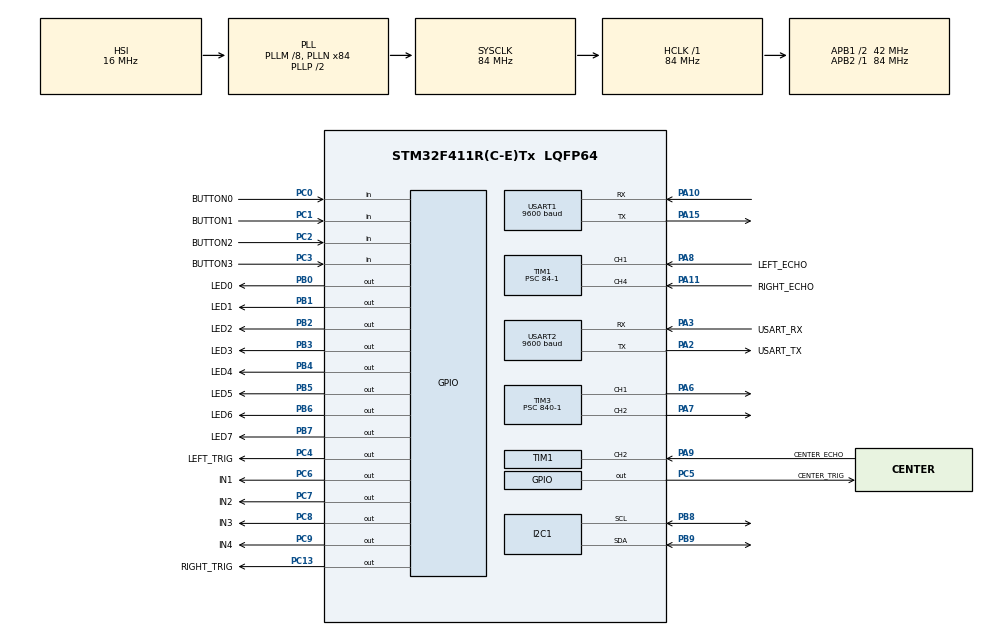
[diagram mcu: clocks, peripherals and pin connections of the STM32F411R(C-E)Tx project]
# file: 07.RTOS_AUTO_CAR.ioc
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FREERTOS.Tasks01=defaultTask,24,128,StartDefaultTask,Default,NULL,Dynamic,NULL,NULL;myTask01,8,128,StartTask01,Default,NULL,Dynamic,NULL,NULL;myTask02,8,128,StartTask02,Default,NULL,Dynamic,NULL,NULL
FREERTOS.configUSE_NEWLIB_REENTRANT=1
Mcu.Family=STM32F4
Mcu.Name=STM32F411R(C-E)Tx
Mcu.Package=LQFP64
NVIC.PriorityGroup=NVIC_PRIORITYGROUP_4
NVIC.TIM1_BRK_TIM9_IRQn=true\:5\:0\:false\:false\:true\:true\:true\:true\:true
NVIC.TIM1_CC_IRQn=true\:5\:0\:false\:false\:true\:true\:true\:true\:true
NVIC.TIM1_TRG_COM_TIM11_IRQn=true\:5\:0\:false\:false\:true\:false\:false\:true\:true
NVIC.TIM1_UP_TIM10_IRQn=true\:5\:0\:false\:false\:true\:false\:true\:true\:true
NVIC.TIM3_IRQn=true\:5\:0\:false\:false\:true\:true\:true\:true\:true
NVIC.TimeBase=TIM1_TRG_COM_TIM11_IRQn
NVIC.TimeBaseIP=TIM11
NVIC.USART1_IRQn=true\:5\:0\:false\:false\:true\:true\:true\:true\:true
NVIC.USART2_IRQn=true\:5\:0\:false\:false\:true\:true\:true\:true\:true
PA10.Mode=Asynchronous
PA10.Signal=USART1_RX
PA11.GPIO_Label=RIGHT_ECHO
PA11.Signal=S_TIM1_CH4
PA13.GPIO_Label=TMS
PA13.Mode=Serial_Wire
PA13.Signal=SYS_JTMS-SWDIO
PA14.GPIO_Label=TCK
PA14.Mode=Serial_Wire
PA14.Signal=SYS_JTCK-SWCLK
PA15.Mode=Asynchronous
PA15.Signal=USART1_TX
PA2.GPIO_Label=USART_TX
PA2.Mode=Asynchronous
PA2.Signal=USART2_TX
PA3.GPIO_Label=USART_RX
PA3.Mode=Asynchronous
PA3.Signal=USART2_RX
PA6.Signal=S_TIM3_CH1
PA7.Signal=S_TIM3_CH2
PA8.GPIO_Label=LEFT_ECHO
PA8.Signal=S_TIM1_CH1
PA9.GPIO_Label=CENTER_ECHO
PA9.Signal=S_TIM1_CH2
PB0.GPIO_Label=LED0
PB0.Signal=GPIO_Output
PB1.GPIO_Label=LED1
PB1.Signal=GPIO_Output
PB2.GPIO_Label=LED2
PB2.Signal=GPIO_Output
PB3.GPIO_Label=LED3
PB3.Signal=GPIO_Output
PB4.GPIO_Label=LED4
PB4.Signal=GPIO_Output
PB5.GPIO_Label=LED5
PB5.Signal=GPIO_Output
PB6.GPIO_Label=LED6
PB6.Signal=GPIO_Output
PB7.GPIO_Label=LED7
PB7.Signal=GPIO_Output
PB8.Mode=I2C
PB8.Signal=I2C1_SCL
PB9.Mode=I2C
PB9.Signal=I2C1_SDA
PC0.GPIO_Label=BUTTON0
PC0.Signal=GPIO_Input
PC1.GPIO_Label=BUTTON1
PC1.Signal=GPIO_Input
PC13-ANTI_TAMP.GPIO_Label=RIGHT_TRIG
PC13-ANTI_TAMP.Signal=GPIO_Output
PC14-OSC32_IN.Mode=LSE-External-Oscillator
PC14-OSC32_IN.Signal=RCC_OSC32_IN
PC15-OSC32_OUT.Mode=LSE-External-Oscillator
PC15-OSC32_OUT.Signal=RCC_OSC32_OUT
PC2.GPIO_Label=BUTTON2
PC2.Signal=GPIO_Input
PC3.GPIO_Label=BUTTON3
PC3.Signal=GPIO_Input
PC4.GPIO_Label=LEFT_TRIG
PC4.Signal=GPIO_Output
PC5.GPIO_Label=CENTER_TRIG
PC5.Signal=GPIO_Output
PC6.GPIO_Label=IN1
PC6.Signal=GPIO_Output
PC7.GPIO_Label=IN2
PC7.Signal=GPIO_Output
PC8.GPIO_Label=IN3
PC8.Signal=GPIO_Output
PC9.GPIO_Label=IN4
PC9.Signal=GPIO_Output
PH0\ -\ OSC_IN.Mode=HSE-External-Clock-Source
PH0\ -\ OSC_IN.Signal=RCC_OSC_IN
PH1\ -\ OSC_OUT.Mode=HSE-External-Clock-Source
PH1\ -\ OSC_OUT.Signal=RCC_OSC_OUT
ProjectManager.HeapSize=0x200
ProjectManager.StackSize=0x400
ProjectManager.TargetToolchain=STM32CubeIDE
RCC.48MHZClocksFreq_Value=42000000
RCC.AHBFreq_Value=84000000
RCC.APB1CLKDivider=RCC_HCLK_DIV2
RCC.APB1Freq_Value=42000000
RCC.APB1TimFreq_Value=84000000
RCC.APB2Freq_Value=84000000
RCC.APB2TimFreq_Value=84000000
RCC.CortexFreq_Value=84000000
RCC.FLatency-AdvancedSettings=FLASH_LATENCY_2
RCC.HCLKFreq_Value=84000000
RCC.HSE_VALUE=8000000
RCC.HSI_VALUE=16000000
RCC.PLLM=8
RCC.PLLN=84
RCC.SYSCLKFreq_VALUE=84000000
RCC.SYSCLKSource=RCC_SYSCLKSOURCE_PLLCLK
RCC.VCOOutputFreq_Value=168000000
SH.S_TIM1_CH1.0=TIM1_CH1,Input_Capture1_from_TI1
SH.S_TIM1_CH2.0=TIM1_CH2,Input_Capture2_from_TI2
SH.S_TIM1_CH4.0=TIM1_CH4,Input_Capture4_from_TI4
SH.S_TIM3_CH1.0=TIM3_CH1,PWM Generation1 CH1
SH.S_TIM3_CH2.0=TIM3_CH2,PWM Generation2 CH2
TIM1.Channel-Input_Capture1_from_TI1=TIM_CHANNEL_1
TIM1.Channel-Input_Capture2_from_TI2=TIM_CHANNEL_2
TIM1.Channel-Input_Capture4_from_TI4=TIM_CHANNEL_4
TIM1.ICPolarity_CH1=TIM_INPUTCHANNELPOLARITY_BOTHEDGE
TIM1.ICPolarity_CH2=TIM_INPUTCHANNELPOLARITY_BOTHEDGE
TIM1.ICPolarity_CH4=TIM_INPUTCHANNELPOLARITY_BOTHEDGE
TIM1.Prescaler=84-1
TIM10.Period=1000-1
TIM10.Prescaler=84-1
TIM2.Prescaler=84-1
TIM3.Channel-PWM\ Generation1\ CH1=TIM_CHANNEL_1
TIM3.Channel-PWM\ Generation2\ CH2=TIM_CHANNEL_2
TIM3.Period=100-1
TIM3.Prescaler=840-1
TIM3.Pulse-PWM\ Generation1\ CH1=70-1
TIM3.Pulse-PWM\ Generation2\ CH2=70-1
USART1.BaudRate=9600
USART1.VirtualMode=VM_ASYNC
USART2.BaudRate=9600
USART2.VirtualMode=VM_ASYNC
VP_FREERTOS_VS_CMSIS_V2.Mode=CMSIS_V2
VP_SYS_VS_tim11.Mode=TIM11
VP_TIM10_VS_ClockSourceINT.Mode=Enable_Timer
VP_TIM1_VS_ClockSourceINT.Mode=Internal
VP_TIM2_VS_ClockSourceINT.Mode=Internal
board=NUCLEO-F411RE

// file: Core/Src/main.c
/* USER CODE BEGIN Header */
/**
  ******************************************************************************
  * @file           : main.c
  * @brief          : Main program body
  ******************************************************************************
  * @attention
  *
  * Copyright (c) 2026 STMicroelectronics.
  * All rights reserved.
  *
  * This software is licensed under terms that can be found in the LICENSE file
  * in the root directory of this software component.
  * If no LICENSE file comes with this software, it is provided AS-IS.
  *
  ******************************************************************************
  */
/* USER CODE END Header */
#include "main.h"
#include "cmsis_os.h"

/* USER CODE BEGIN Includes */
#include <stdio.h>
#include "ssd1306.h"
#include "ssd1306_tests.h"
/* USER CODE END Includes */

I2C_HandleTypeDef hi2c1;

TIM_HandleTypeDef htim1;
TIM_HandleTypeDef htim2;
TIM_HandleTypeDef htim3;
TIM_HandleTypeDef htim10;

UART_HandleTypeDef huart1;
UART_HandleTypeDef huart2;

/* Definitions for defaultTask */
osThreadId_t defaultTaskHandle;
const osThreadAttr_t defaultTask_attributes = {
  .name = "defaultTask",
  .stack_size = 128 * 4,
  .priority = (osPriority_t) osPriorityNormal,
};
/* Definitions for myTask01 */
osThreadId_t myTask01Handle;
const osThreadAttr_t myTask01_attributes = {
  .name = "myTask01",
  .stack_size = 128 * 4,
  .priority = (osPriority_t) osPriorityLow,
};
/* Definitions for myTask02 */
osThreadId_t myTask02Handle;
const osThreadAttr_t myTask02_attributes = {
  .name = "myTask02",
  .stack_size = 128 * 4,
  .priority = (osPriority_t) osPriorityLow,
};
/* Definitions for myTask03 */
osThreadId_t myTask03Handle;
const osThreadAttr_t myTask03_attributes = {
  .name = "myTask03",
  .stack_size = 128 * 4,
  .priority = (osPriority_t) osPriorityLow,
};

/* USER CODE BEGIN PV */
volatile int TIM10_1ms_counter=0;
volatile int TIM10_1ms_ledcnt=0;
volatile int TIM10_1ms_ultrasonic=0;

volatile int distance_center, distance_left, distance_right;
uint8_t rx_data;    // uart rx data
extern volatile uint8_t bt_data;   //  Bt rx data
/* USER CODE END PV */

void SystemClock_Config(void);
static void MX_GPIO_Init(void);
static void MX_USART2_UART_Init(void);
static void MX_TIM10_Init(void);
static void MX_TIM2_Init(void);
static void MX_TIM1_Init(void);
static void MX_I2C1_Init(void);
static void MX_TIM3_Init(void);
static void MX_USART1_UART_Init(void);
void StartDefaultTask(void *argument);
void StartTask01(void *argument);
void StartTask02(void *argument);
void StartTask03(void *argument);

/* USER CODE BEGIN PFP */
extern void led_main(void);
extern void delay_us(unsigned int us);
extern void led_btn_main(void);
extern void ultrasonic_main(void);
extern void auto_drive(void);
extern void manual_mode_run(void);

/* USER CODE END PFP */

/* USER CODE BEGIN 0 */
#ifdef __GNUC__    // Add for printf
/* With GCC, small printf (option LD Linker->Libraries->Small printf
   set to 'Yes') calls __io_putchar() */
#define PUTCHAR_PROTOTYPE int __io_putchar(int ch)
#else
#define PUTCHAR_PROTOTYPE int fputc(int ch, FILE *f)
#endif /* __GNUC__ */
/**
  * @brief  Retargets the C library printf function to the USART.
  * @param  None
  * @retval None
  */
PUTCHAR_PROTOTYPE   // Add for printf
{
  /* Place your implementation of fputc here */
  /* e.g. write a character to the USART3 and Loop until the end of transmission */
  HAL_UART_Transmit(&huart2, (uint8_t *)&ch, 1, 0xFFFF);

  return ch;
}
/* USER CODE END 0 */

int main(void)
{

  /* MCU Configuration--------------------------------------------------------*/

  /* Reset of all peripherals, Initializes the Flash interface and the Systick. */
  HAL_Init();

  /* Configure the system clock */
  SystemClock_Config();

  /* Initialize all configured peripherals */
  MX_GPIO_Init();
  MX_USART2_UART_Init();
  MX_TIM10_Init();
  MX_TIM2_Init();
  MX_TIM1_Init();
  MX_I2C1_Init();
  MX_TIM3_Init();
  MX_USART1_UART_Init();
  /* USER CODE BEGIN 2 */
  /* USER CODE BEGIN 2 */
  i2c_lcd_init();
  HAL_TIM_Base_Start_IT(&htim10);
  HAL_TIM_Base_Start_IT(&htim2);
  HAL_UART_Receive_IT(&huart2, &rx_data, 1);
  HAL_UART_Receive_IT(&huart1, &bt_data, 1);

  // 초음파 센서 3개 채널 모두 인터럽트 모드로 시작
  HAL_TIM_IC_Start_IT(&htim1, TIM_CHANNEL_1); // 왼쪽 (CH1)
  HAL_TIM_IC_Start_IT(&htim1, TIM_CHANNEL_2); // 중앙 (CH2)
  HAL_TIM_IC_Start_IT(&htim1, TIM_CHANNEL_4); // 오른쪽 (CH4)

  HAL_TIM_PWM_Start_IT(&htim3, TIM_CHANNEL_1);
  HAL_TIM_PWM_Start_IT(&htim3, TIM_CHANNEL_2);

  printf("RTOS Smart Car System Start!!!\n");
  /* USER CODE END 2 */

printf("RTOS main start !!!\n");
// dcmotor_main();
//	dht11_main();
// ds1302_main();
// i2c_lcd_main();
  /* USER CODE END 2 */

  /* Init scheduler */
  osKernelInitialize();

  /* Create the thread(s) */
  /* creation of defaultTask */
  defaultTaskHandle = osThreadNew(StartDefaultTask, NULL, &defaultTask_attributes);

  /* creation of myTask01 */
  myTask01Handle = osThreadNew(StartTask01, NULL, &myTask01_attributes);

  /* creation of myTask02 */
  myTask02Handle = osThreadNew(StartTask02, NULL, &myTask02_attributes);

  /* creation of myTask03 */
  myTask03Handle = osThreadNew(StartTask03, NULL, &myTask03_attributes);

  /* USER CODE BEGIN RTOS_EVENTS */
  /* add events, ... */
	move_cursor(0,0);
	lcd_string("=Manul Mode=");
  /* USER CODE END RTOS_EVENTS */

  /* Start scheduler */
  osKernelStart();

  /* We should never get here as control is now taken by the scheduler */

  /* Infinite loop */
  /* USER CODE BEGIN WHILE */
  while (1)
  {
	  // HAL_GPIO_WritePin(GPIOB, GPIO_PIN_0 | GPIO_PIN_1 | GPIO_PIN_2 | GPIO_PIN_3 |
		//	  	  	  	  	   GPIO_PIN_4 | GPIO_PIN_5 | GPIO_PIN_6 | GPIO_PIN_7, 1);
	  // HAL_Delay(100);
	  // delay_us(50000);   // 50ms
	  // HAL_GPIO_WritePin(GPIOB, GPIO_PIN_0 | GPIO_PIN_1 | GPIO_PIN_2 | GPIO_PIN_3 |
			 //  	  	  	  	   GPIO_PIN_4 | GPIO_PIN_5 | GPIO_PIN_6 | GPIO_PIN_7, 0);
	  // HAL_Delay(100);
	  // delay_us(50000);   // 50ms
    /* USER CODE END WHILE */

  }
}

void SystemClock_Config(void)
{
  RCC_OscInitTypeDef RCC_OscInitStruct = {0};
  RCC_ClkInitTypeDef RCC_ClkInitStruct = {0};

  /** Configure the main internal regulator output voltage
  */
  __HAL_RCC_PWR_CLK_ENABLE();
  __HAL_PWR_VOLTAGESCALING_CONFIG(PWR_REGULATOR_VOLTAGE_SCALE1);

  /** Initializes the RCC Oscillators according to the specified parameters
  * in the RCC_OscInitTypeDef structure.
  */
  RCC_OscInitStruct.OscillatorType = RCC_OSCILLATORTYPE_HSI;
  RCC_OscInitStruct.HSIState = RCC_HSI_ON;
  RCC_OscInitStruct.HSICalibrationValue = RCC_HSICALIBRATION_DEFAULT;
  RCC_OscInitStruct.PLL.PLLState = RCC_PLL_ON;
  RCC_OscInitStruct.PLL.PLLSource = RCC_PLLSOURCE_HSI;
  RCC_OscInitStruct.PLL.PLLM = 8;
  RCC_OscInitStruct.PLL.PLLN = 84;
  RCC_OscInitStruct.PLL.PLLP = RCC_PLLP_DIV2;
  RCC_OscInitStruct.PLL.PLLQ = 4;
  if (HAL_RCC_OscConfig(&RCC_OscInitStruct) != HAL_OK)
  {
    Error_Handler();
  }

  /** Initializes the CPU, AHB and APB buses clocks
  */
  RCC_ClkInitStruct.ClockType = RCC_CLOCKTYPE_HCLK|RCC_CLOCKTYPE_SYSCLK
                              |RCC_CLOCKTYPE_PCLK1|RCC_CLOCKTYPE_PCLK2;
  RCC_ClkInitStruct.SYSCLKSource = RCC_SYSCLKSOURCE_PLLCLK;
  RCC_ClkInitStruct.AHBCLKDivider = RCC_SYSCLK_DIV1;
  RCC_ClkInitStruct.APB1CLKDivider = RCC_HCLK_DIV2;
  RCC_ClkInitStruct.APB2CLKDivider = RCC_HCLK_DIV1;

  if (HAL_RCC_ClockConfig(&RCC_ClkInitStruct, FLASH_LATENCY_2) != HAL_OK)
  {
    Error_Handler();
  }
}

static void MX_I2C1_Init(void)
{

  hi2c1.Instance = I2C1;
  hi2c1.Init.ClockSpeed = 100000;
  hi2c1.Init.DutyCycle = I2C_DUTYCYCLE_2;
  hi2c1.Init.OwnAddress1 = 0;
  hi2c1.Init.AddressingMode = I2C_ADDRESSINGMODE_7BIT;
  hi2c1.Init.DualAddressMode = I2C_DUALADDRESS_DISABLE;
  hi2c1.Init.OwnAddress2 = 0;
  hi2c1.Init.GeneralCallMode = I2C_GENERALCALL_DISABLE;
  hi2c1.Init.NoStretchMode = I2C_NOSTRETCH_DISABLE;
  if (HAL_I2C_Init(&hi2c1) != HAL_OK)
  {
    Error_Handler();
  }

}

static void MX_TIM1_Init(void)
{

  TIM_ClockConfigTypeDef sClockSourceConfig = {0};
  TIM_MasterConfigTypeDef sMasterConfig = {0};
  TIM_IC_InitTypeDef sConfigIC = {0};

  htim1.Instance = TIM1;
  htim1.Init.Prescaler = 84-1;
  htim1.Init.CounterMode = TIM_COUNTERMODE_UP;
  htim1.Init.Period = 65535;
  htim1.Init.ClockDivision = TIM_CLOCKDIVISION_DIV1;
  htim1.Init.RepetitionCounter = 0;
  htim1.Init.AutoReloadPreload = TIM_AUTORELOAD_PRELOAD_DISABLE;
  if (HAL_TIM_Base_Init(&htim1) != HAL_OK)
  {
    Error_Handler();
  }
  sClockSourceConfig.ClockSource = TIM_CLOCKSOURCE_INTERNAL;
  if (HAL_TIM_ConfigClockSource(&htim1, &sClockSourceConfig) != HAL_OK)
  {
    Error_Handler();
  }
  if (HAL_TIM_IC_Init(&htim1) != HAL_OK)
  {
    Error_Handler();
  }
  sMasterConfig.MasterOutputTrigger = TIM_TRGO_RESET;
  sMasterConfig.MasterSlaveMode = TIM_MASTERSLAVEMODE_DISABLE;
  if (HAL_TIMEx_MasterConfigSynchronization(&htim1, &sMasterConfig) != HAL_OK)
  {
    Error_Handler();
  }
  sConfigIC.ICPolarity = TIM_INPUTCHANNELPOLARITY_BOTHEDGE;
  sConfigIC.ICSelection = TIM_ICSELECTION_DIRECTTI;
  sConfigIC.ICPrescaler = TIM_ICPSC_DIV1;
  sConfigIC.ICFilter = 0;
  if (HAL_TIM_IC_ConfigChannel(&htim1, &sConfigIC, TIM_CHANNEL_1) != HAL_OK)
  {
    Error_Handler();
  }
  if (HAL_TIM_IC_ConfigChannel(&htim1, &sConfigIC, TIM_CHANNEL_2) != HAL_OK)
  {
    Error_Handler();
  }
  if (HAL_TIM_IC_ConfigChannel(&htim1, &sConfigIC, TIM_CHANNEL_4) != HAL_OK)
  {
    Error_Handler();
  }

}

static void MX_TIM2_Init(void)
{

  TIM_ClockConfigTypeDef sClockSourceConfig = {0};
  TIM_MasterConfigTypeDef sMasterConfig = {0};

  htim2.Instance = TIM2;
  htim2.Init.Prescaler = 84-1;
  htim2.Init.CounterMode = TIM_COUNTERMODE_UP;
  htim2.Init.Period = 4294967295;
  htim2.Init.ClockDivision = TIM_CLOCKDIVISION_DIV1;
  htim2.Init.AutoReloadPreload = TIM_AUTORELOAD_PRELOAD_DISABLE;
  if (HAL_TIM_Base_Init(&htim2) != HAL_OK)
  {
    Error_Handler();
  }
  sClockSourceConfig.ClockSource = TIM_CLOCKSOURCE_INTERNAL;
  if (HAL_TIM_ConfigClockSource(&htim2, &sClockSourceConfig) != HAL_OK)
  {
    Error_Handler();
  }
  sMasterConfig.MasterOutputTrigger = TIM_TRGO_RESET;
  sMasterConfig.MasterSlaveMode = TIM_MASTERSLAVEMODE_DISABLE;
  if (HAL_TIMEx_MasterConfigSynchronization(&htim2, &sMasterConfig) != HAL_OK)
  {
    Error_Handler();
  }

}

static void MX_TIM3_Init(void)
{

  TIM_MasterConfigTypeDef sMasterConfig = {0};
  TIM_OC_InitTypeDef sConfigOC = {0};

  htim3.Instance = TIM3;
  htim3.Init.Prescaler = 840-1;
  htim3.Init.CounterMode = TIM_COUNTERMODE_UP;
  htim3.Init.Period = 100-1;
  htim3.Init.ClockDivision = TIM_CLOCKDIVISION_DIV1;
  htim3.Init.AutoReloadPreload = TIM_AUTORELOAD_PRELOAD_DISABLE;
  if (HAL_TIM_PWM_Init(&htim3) != HAL_OK)
  {
    Error_Handler();
  }
  sMasterConfig.MasterOutputTrigger = TIM_TRGO_RESET;
  sMasterConfig.MasterSlaveMode = TIM_MASTERSLAVEMODE_DISABLE;
  if (HAL_TIMEx_MasterConfigSynchronization(&htim3, &sMasterConfig) != HAL_OK)
  {
    Error_Handler();
  }
  sConfigOC.OCMode = TIM_OCMODE_PWM1;
  sConfigOC.Pulse = 70-1;
  sConfigOC.OCPolarity = TIM_OCPOLARITY_HIGH;
  sConfigOC.OCFastMode = TIM_OCFAST_DISABLE;
  if (HAL_TIM_PWM_ConfigChannel(&htim3, &sConfigOC, TIM_CHANNEL_1) != HAL_OK)
  {
    Error_Handler();
  }
  if (HAL_TIM_PWM_ConfigChannel(&htim3, &sConfigOC, TIM_CHANNEL_2) != HAL_OK)
  {
    Error_Handler();
  }
  HAL_TIM_MspPostInit(&htim3);

}

static void MX_TIM10_Init(void)
{

  htim10.Instance = TIM10;
  htim10.Init.Prescaler = 84-1;
  htim10.Init.CounterMode = TIM_COUNTERMODE_UP;
  htim10.Init.Period = 1000-1;
  htim10.Init.ClockDivision = TIM_CLOCKDIVISION_DIV1;
  htim10.Init.AutoReloadPreload = TIM_AUTORELOAD_PRELOAD_DISABLE;
  if (HAL_TIM_Base_Init(&htim10) != HAL_OK)
  {
    Error_Handler();
  }

}

static void MX_USART1_UART_Init(void)
{

  huart1.Instance = USART1;
  huart1.Init.BaudRate = 9600;
  huart1.Init.WordLength = UART_WORDLENGTH_8B;
  huart1.Init.StopBits = UART_STOPBITS_1;
  huart1.Init.Parity = UART_PARITY_NONE;
  huart1.Init.Mode = UART_MODE_TX_RX;
  huart1.Init.HwFlowCtl = UART_HWCONTROL_NONE;
  huart1.Init.OverSampling = UART_OVERSAMPLING_16;
  if (HAL_UART_Init(&huart1) != HAL_OK)
  {
    Error_Handler();
  }

}

static void MX_USART2_UART_Init(void)
{

  huart2.Instance = USART2;
  huart2.Init.BaudRate = 9600;
  huart2.Init.WordLength = UART_WORDLENGTH_8B;
  huart2.Init.StopBits = UART_STOPBITS_1;
  huart2.Init.Parity = UART_PARITY_NONE;
  huart2.Init.Mode = UART_MODE_TX_RX;
  huart2.Init.HwFlowCtl = UART_HWCONTROL_NONE;
  huart2.Init.OverSampling = UART_OVERSAMPLING_16;
  if (HAL_UART_Init(&huart2) != HAL_OK)
  {
    Error_Handler();
  }

}

static void MX_GPIO_Init(void)
{
  GPIO_InitTypeDef GPIO_InitStruct = {0};

  /* GPIO Ports Clock Enable */
  __HAL_RCC_GPIOC_CLK_ENABLE();
  __HAL_RCC_GPIOH_CLK_ENABLE();
  __HAL_RCC_GPIOA_CLK_ENABLE();
  __HAL_RCC_GPIOB_CLK_ENABLE();

  /*Configure GPIO pin Output Level */
  HAL_GPIO_WritePin(GPIOC, RIGHT_TRIG_Pin|LEFT_TRIG_Pin|CENTER_TRIG_Pin|IN1_Pin
                          |IN2_Pin|IN3_Pin|IN4_Pin, GPIO_PIN_RESET);

  /*Configure GPIO pin Output Level */
  HAL_GPIO_WritePin(GPIOB, LED0_Pin|LED1_Pin|LED2_Pin|LED3_Pin
                          |LED4_Pin|LED5_Pin|LED6_Pin|LED7_Pin, GPIO_PIN_RESET);

  /*Configure GPIO pins : RIGHT_TRIG_Pin LEFT_TRIG_Pin CENTER_TRIG_Pin IN1_Pin
                           IN2_Pin IN3_Pin IN4_Pin */
  GPIO_InitStruct.Pin = RIGHT_TRIG_Pin|LEFT_TRIG_Pin|CENTER_TRIG_Pin|IN1_Pin
                          |IN2_Pin|IN3_Pin|IN4_Pin;
  GPIO_InitStruct.Mode = GPIO_MODE_OUTPUT_PP;
  GPIO_InitStruct.Pull = GPIO_NOPULL;
  GPIO_InitStruct.Speed = GPIO_SPEED_FREQ_LOW;
  HAL_GPIO_Init(GPIOC, &GPIO_InitStruct);

  /*Configure GPIO pins : BUTTON0_Pin BUTTON1_Pin BUTTON2_Pin BUTTON3_Pin */
  GPIO_InitStruct.Pin = BUTTON0_Pin|BUTTON1_Pin|BUTTON2_Pin|BUTTON3_Pin;
  GPIO_InitStruct.Mode = GPIO_MODE_INPUT;
  GPIO_InitStruct.Pull = GPIO_NOPULL;
  HAL_GPIO_Init(GPIOC, &GPIO_InitStruct);

  /*Configure GPIO pins : LED0_Pin LED1_Pin LED2_Pin LED3_Pin
                           LED4_Pin LED5_Pin LED6_Pin LED7_Pin */
  GPIO_InitStruct.Pin = LED0_Pin|LED1_Pin|LED2_Pin|LED3_Pin
                          |LED4_Pin|LED5_Pin|LED6_Pin|LED7_Pin;
  GPIO_InitStruct.Mode = GPIO_MODE_OUTPUT_PP;
  GPIO_InitStruct.Pull = GPIO_NOPULL;
  GPIO_InitStruct.Speed = GPIO_SPEED_FREQ_LOW;
  HAL_GPIO_Init(GPIOB, &GPIO_InitStruct);

}

/* StartDefaultTask 수정 */
void StartDefaultTask(void *argument)
{
  /* USER CODE BEGIN 5 */
  extern uint8_t auto_mode_state; // dcmotor.c에 선언된 변수 참조
  for(;;)
  {
    ultrasonic_main(); // 60ms 간격으로 3방향 순차 스캔
    osDelay(10);
  }
  /* USER CODE END 5 */
}

/* StartTask01 (Manual Mode) 수정 */
void StartTask01(void *argument)
{
  /* USER CODE BEGIN StartTask01 */
  extern uint8_t auto_mode_state;
  for(;;)
  {
    // 자율 주행 모드가 아닐 때만 블루투스 명령 실행 (모터 제어권 충돌 방지)
	  if (auto_mode_state)
	      {
	          auto_drive();  // 자율 주행 로직 실행
	      }
    if (!auto_mode_state)
    {
        manual_mode_run();
    }
    osDelay(1);
  }
  /* USER CODE END StartTask01 */
}

void StartTask02(void *argument)
{
  /* USER CODE BEGIN StartTask02 */
  for(;;)
  {
    mode_check(); // BUTTON0 클릭 시 auto_mode_state 토글
    osDelay(1);
  }
  /* USER CODE END StartTask02 */
}

void StartTask03(void *argument)
{
  /* USER CODE BEGIN StartTask03 */

  ssd1306_Init();   // ★ 여기서 한 번만

  for(;;)
  {
    oled_display_main();  // 내가 만든 출력 함수
    osDelay(200);         // OLED 갱신 주기
  }
  // for(;;)
  // {
  //   ssd1306_TestAll();
  //   osDelay(1);
  // }
  /* USER CODE END StartTask03 */
}

void HAL_TIM_PeriodElapsedCallback(TIM_HandleTypeDef *htim)
{
  if (htim->Instance == TIM11) {
    HAL_IncTick();
  }
  /* USER CODE BEGIN Callback 1 */
	if ( htim->Instance == TIM10)   // (*htim).Instance == TIM10
	{
		TIM10_1ms_counter++;
		TIM10_1ms_ledcnt++;
		TIM10_1ms_ultrasonic++;
	}
  /* USER CODE END Callback 1 */
}

void Error_Handler(void)
{
  __disable_irq();
  while (1)
  {
  }
}
